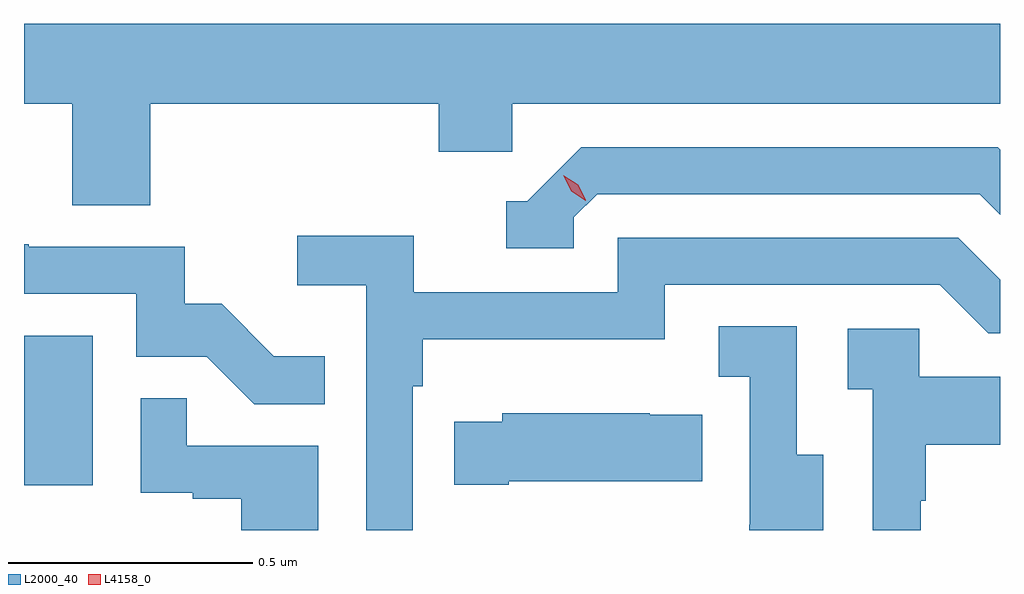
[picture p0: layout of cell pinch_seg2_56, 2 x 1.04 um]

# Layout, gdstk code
import gdstk
lib = gdstk.Library(unit=1e-6, precision=1e-09)
def R(c, l, rs):  # rectangles x0, y0, x1, y1
    for r in rs: c.add(gdstk.rectangle(r[:2], r[2:], *l))
def P(c, l, *ps):  # polygons
    for p in ps: c.add(gdstk.Polygon(p, *l))
L2000_40 = (2000, 40)
L4158_0 = (4158, 0)

pinch_seg2_56 = lib.new_cell('pinch_seg2_56')
R(pinch_seg2_56, L2000_40, [(1072.657,660.174,1072.798,660.481)])
P(pinch_seg2_56, L2000_40, [(1072.916,660.956),(1073.507,660.956),(1073.507,660.858),(1073.658,660.858),(1073.658,660.956),(1074.657,660.956),(1074.657,661.12),(1072.657,661.12),(1072.657,660.956),(1072.756,660.956),(1072.756,660.748),(1072.916,660.748)],
  [(1073.784,660.723),(1073.832,660.771),(1074.615,660.771),(1074.657,660.729),(1074.657,660.862),(1074.652,660.867),(1073.799,660.867),(1073.688,660.756),(1073.645,660.756),(1073.645,660.66),(1073.784,660.66)],
  [(1073.454,660.377),(1073.474,660.377),(1073.474,660.473),(1073.97,660.473),(1073.97,660.585),(1074.534,660.585),(1074.633,660.486),(1074.657,660.486),(1074.657,660.595),(1074.571,660.681),(1073.874,660.681),(1073.874,660.57),(1073.456,660.57),(1073.456,660.686),(1073.217,660.686),(1073.217,660.584),(1073.358,660.584),(1073.358,660.082),(1073.454,660.082)],
  [(1073.273,660.439),(1073.169,660.439),(1073.062,660.546),(1072.986,660.546),(1072.986,660.663),(1072.667,660.663),(1072.667,660.668),(1072.657,660.668),(1072.657,660.567),(1072.887,660.567),(1072.887,660.438),(1073.031,660.438),(1073.129,660.34),(1073.273,660.34)],
  [(1074.295,660.237),(1074.24,660.237),(1074.24,660.5),(1074.081,660.5),(1074.081,660.397),(1074.144,660.397),(1074.144,660.093),(1074.143,660.093),(1074.143,660.082),(1074.295,660.082)],
  [(1074.495,660.143),(1074.505,660.143),(1074.505,660.257),(1074.657,660.257),(1074.657,660.397),(1074.492,660.397),(1074.492,660.495),(1074.345,660.495),(1074.345,660.371),(1074.396,660.371),(1074.396,660.082),(1074.495,660.082)],
  [(1073.26,660.255),(1072.991,660.255),(1072.991,660.353),(1072.896,660.353),(1072.896,660.159),(1073.003,660.159),(1073.003,660.147),(1073.102,660.147),(1073.102,660.082),(1073.26,660.082)],
  [(1073.65,660.182),(1074.047,660.182),(1074.047,660.319),(1073.939,660.319),(1073.939,660.322),(1073.637,660.322),(1073.637,660.304),(1073.539,660.304),(1073.539,660.175),(1073.65,660.175)])
P(pinch_seg2_56, L4158_0, [(1073.808,660.757),(1073.778,660.777),(1073.762,660.81),(1073.762,660.81),(1073.762,660.81),(1073.793,660.79),(1073.808,660.758),(1073.808,660.757)])

lib.write_gds('pinch_seg2_56.gds')
